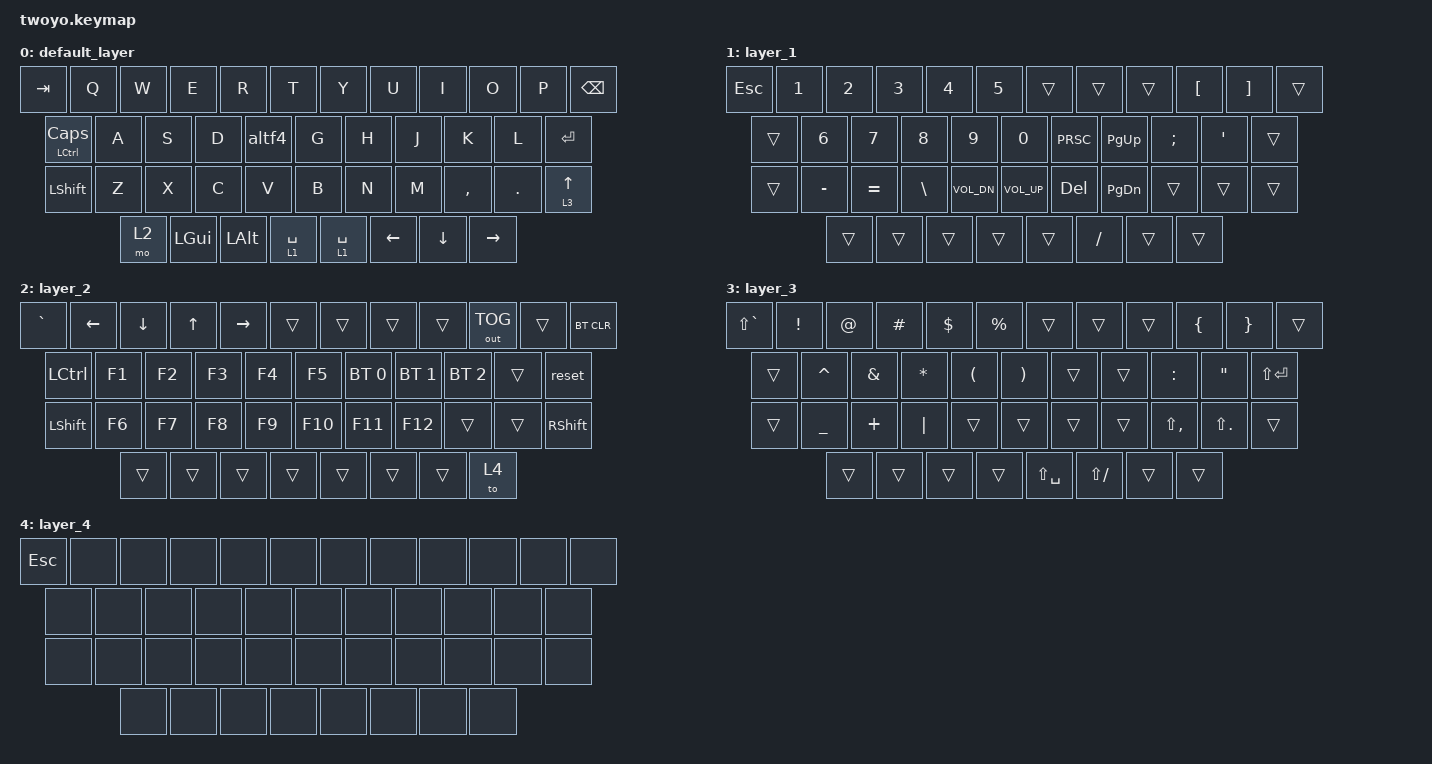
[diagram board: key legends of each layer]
/*
 * Copyright (c) 2020 The ZMK Contributors
 *
 * SPDX-License-Identifier: MIT
 */

#include <behaviors.dtsi>
#include <dt-bindings/zmk/keys.h>
#include <dt-bindings/zmk/bt.h>
#include <dt-bindings/zmk/outputs.h>

&lt {
    quick_tap_ms = <180>;
};

/ {

        combos {
                compatible = "zmk,combos";
                combo_unlk {
                        timeout-ms = <1000>;
                        key-positions = <16 19>;
                        layers = <4>;
                        bindings = <&to 0>;
                              };
                        
//                combo_rst_lf {
//                        timeout-ms = <100>;
//                        key-positions = <4 5 14>;
//                        bindings = <&reset>;
//                        };
                        
//                combo_rst_rt {
//                        timeout-ms = <100>;
//                        key-positions = <6 7 21>;
//                        bindings = <&reset>;
//                        };
                        
                };
        
        behaviors {
                altf4: alt_f4 {
                        compatible = "zmk,behavior-mod-morph";
                        label = "F_ALTF4";
                        #binding-cells = <0>;
                        bindings = <&kp F>, <&kp LA(F4)>;
                        mods = <(MOD_LALT)>;
                };
        };
        
        keymap {
                compatible = "zmk,keymap";

                default_layer {
// -----------------------------------------------------------------------------------------
// |  TAB |  Q  |  W  |  E  |  R  |  T  |   |  Y  |  U   |  I  |  O  |  P  | BKSP |
// | C&C  |  A  |  S  |  D  |  F  |  G  |    |  H  |  J   |  K  |  L  |   ENTER   |
// | SHFT |  Z  |  X  |  C  |  V  |  B  |     |  N  |  M   |  ,  |  .  |  LT(3, UP)      |
// | MO_2 | GUI | ALT |  | LT(1,SPC) |      |     LT(1,SPC)      | LFT | DWN  | RT |
                        bindings = <
   &kp TAB  &kp Q &kp W &kp E &kp R &kp T     &kp Y &kp U  &kp I  &kp O  &kp P   &kp BSPC
   &mt LCTL CAPS &kp A  &kp S &kp D &altf4 &kp G        &kp H &kp J  &kp K     &kp L     &kp ENTER
   &kp LSHFT &kp Z &kp X &kp C &kp V &kp B        &kp N &kp M  &kp COMMA &kp DOT &lt 3 UP
   &mo 2 &kp LGUI &kp LALT &lt 1 SPC   &lt 1 SPC &kp LEFT &kp DOWN &kp RIGHT
                        >;
                };
                layer_1 {
// -----------------------------------------------------------------------------------------
// | ESC |  1  |  2  |  3  |  4  |  5  |     |     |     |     |  [  |  ]  |      |
// |     |  6  |  7  |  8  |  9  |  0  |      | PRTS|PGUP |    |  '  |     |           
// |     | -   |  =  |  \  |volup|voldn|       | DEL |PGDN |     |     |     |      
// |     |     |     |                 |         |                 |  /  |     |      |
                        bindings = <
   &kp ESC    &kp NUM_1    &kp NUM_2    &kp NUM_3    &kp NUM_4    &kp NUM_5 &trans  &trans &trans &kp LBKT &kp RBKT &trans
   &trans &kp NUM_6  &kp NUM_7 &kp NUM_8 &kp NUM_9 &kp NUM_0    &kp PRSC &kp PG_UP  &kp SCLN  &kp QUOT    &trans
   &trans   &kp MINUS      &kp EQL       &kp BSLH       &kp C_VOL_DN       &kp C_VOL_UP   &kp DEL   &kp PG_DN   &trans    &trans    &trans 
   &trans &trans  &trans       &trans                        &trans          &kp FSLH                        &trans &trans
                        >;
                };

                layer_2 {
// -----------------------------------------------------------------------------------------
// | GRV | LFT | DWN |  UP |  RT |      |     |     |     |     |OUT_TOG|     |BT CLR |
// |LCTRL| F1  | F2  | F3  | F4  |  F5  |     |BT0  | BT1 |     |     |     |
// | SFT | F6  |  F7 |  F8 | F9  |  F10 |     | F11 | F12 |     |     |     | RSFT  |
// |     |     |     |                  |     |           |     |     |     | TO_4
                        bindings = <
   &kp GRAVE  &kp LEFT  &kp DOWN  &kp UP  &kp RIGHT  &trans   &trans &trans  &trans &out OUT_TOG &trans &bt BT_CLR
   &kp LCTRL &kp F1  &kp F2  &kp F3    &kp F4  &kp F5      &bt BT_SEL 0 &bt BT_SEL 1 &bt BT_SEL 2 &trans  &reset 
   &kp LSHIFT &kp F6    &kp F7  &kp F8    &kp F9    &kp F10      &kp F11    &kp F12    &trans  &trans &kp RSHIFT
   &trans &trans &trans                     &trans          &trans              &trans &trans &to 4
                        >;
                };
                
                layer_3 {
// -----------------------------------------------------------------------------------------
// |     |     |     |     |     |      |     |     |     |     |     |     |      |
// |     |     |     |     |     |      |     |     |     |     |     |     |
// |     |     |     |     |     |      |     |     |     |     |     |     | 
// |     |     |     |                  |     |           |     |     |     |
                        bindings = <
   &kp LS(GRAVE)  &kp EXCL &kp AT &kp HASH &kp DLLR &kp PRCNT    &trans &trans &trans &kp LBRC &kp RBRC &trans 
   &trans &kp CARET  &kp AMPS &kp STAR &kp LPAR &kp RPAR    &trans &trans &kp COLON &kp DQT &kp LS(ENTER)
   &trans &kp UNDER &kp PLUS   &kp PIPE &trans &trans    &trans &trans &kp LS(COMMA) &kp LS(DOT) &trans
   &trans &trans &trans &trans                  &kp LS(SPACE)       &kp LS(FSLH) &trans &trans
                        >;
                };
                
                layer_4 {
// -----------------------------------------------------------------------------------------
// |     |     |     |     |     |      |     |     |     |     |     |     |      |
// |     |     |     |     |     |      |     |     |     |     |     |     |
// |     |     |     |     |     |      |     |     |     |     |     |     | 
// |     |     |     |                  |     |           |     |     |     |
                        bindings = <
   &kp ESC &none &none &none &none &none    &none &none &none &none &none &none 
   &none &none &none &none &none &none    &none &none &none &none &none
   &none &none &none &none &none &none    &none &none &none &none &none
   &none &none &none &none                  &none       &none &none &none
                        >;
                };
        };
};
